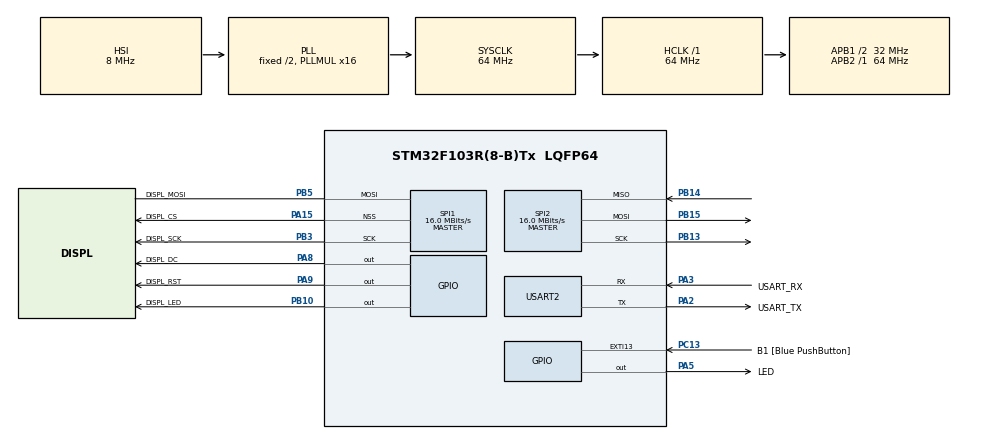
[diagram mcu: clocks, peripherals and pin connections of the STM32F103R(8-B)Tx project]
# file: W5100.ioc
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Dma.Request0=SPI1_TX
Dma.SPI1_TX.0.Direction=DMA_MEMORY_TO_PERIPH
Dma.SPI1_TX.0.Instance=DMA1_Channel3
Dma.SPI1_TX.0.MemDataAlignment=DMA_MDATAALIGN_BYTE
Dma.SPI1_TX.0.MemInc=DMA_MINC_ENABLE
Dma.SPI1_TX.0.Mode=DMA_NORMAL
Dma.SPI1_TX.0.PeriphDataAlignment=DMA_PDATAALIGN_BYTE
Dma.SPI1_TX.0.PeriphInc=DMA_PINC_DISABLE
Dma.SPI1_TX.0.Priority=DMA_PRIORITY_LOW
Mcu.Family=STM32F1
Mcu.Name=STM32F103R(8-B)Tx
Mcu.Package=LQFP64
NVIC.DMA1_Channel3_IRQn=true\:0\:0\:false\:false\:true\:false\:true\:true
NVIC.EXTI15_10_IRQn=true\:0\:0\:false\:false\:true\:true\:true\:true
NVIC.PriorityGroup=NVIC_PRIORITYGROUP_4
NVIC.SPI1_IRQn=true\:0\:0\:false\:false\:true\:true\:true\:true
PA13.GPIO_Label=TMS
PA13.Mode=Serial_Wire
PA13.Signal=SYS_JTMS-SWDIO
PA14.GPIO_Label=TCK
PA14.Mode=Serial_Wire
PA14.Signal=SYS_JTCK-SWCLK
PA15.GPIO_Label=DISPL_CS
PA15.Mode=NSS_Signal_Hard_Output
PA15.Signal=SPI1_NSS
PA2.GPIO_Label=USART_TX
PA2.GPIO_Mode=GPIO_MODE_AF_PP
PA2.GPIO_PuPd=GPIO_NOPULL
PA2.GPIO_Speed=GPIO_SPEED_FREQ_LOW
PA2.Mode=Asynchronous
PA2.Signal=USART2_TX
PA3.GPIO_Label=USART_RX
PA3.GPIO_Mode=GPIO_MODE_AF_PP
PA3.GPIO_PuPd=GPIO_NOPULL
PA3.GPIO_Speed=GPIO_SPEED_FREQ_LOW
PA3.Mode=Asynchronous
PA3.Signal=USART2_RX
PA5.GPIO_Label=LED
PA5.Signal=GPIO_Output
PA8.GPIO_Label=DISPL_DC
PA8.Signal=GPIO_Output
PA9.GPIO_Label=DISPL_RST
PA9.Signal=GPIO_Output
PB10.GPIO_Label=DISPL_LED
PB10.Signal=GPIO_Output
PB12.Signal=SPI2_NSS
PB13.Mode=Full_Duplex_Master
PB13.Signal=SPI2_SCK
PB14.Mode=Full_Duplex_Master
PB14.Signal=SPI2_MISO
PB15.Mode=Full_Duplex_Master
PB15.Signal=SPI2_MOSI
PB3.GPIO_Label=DISPL_SCK
PB3.Mode=Simplex_Bidirectional_Master
PB3.Signal=SPI1_SCK
PB5.GPIO_Label=DISPL_MOSI
PB5.Mode=Simplex_Bidirectional_Master
PB5.Signal=SPI1_MOSI
PC13-TAMPER-RTC.GPIO_Label=B1 [Blue PushButton]
PC13-TAMPER-RTC.GPIO_PuPd=GPIO_NOPULL
PC13-TAMPER-RTC.Signal=GPXTI13
PC14-OSC32_IN.Signal=RCC_OSC32_IN
PC15-OSC32_OUT.Signal=RCC_OSC32_OUT
PD0-OSC_IN.Mode=HSE-External-Oscillator
PD0-OSC_IN.Signal=RCC_OSC_IN
PD1-OSC_OUT.Mode=HSE-External-Oscillator
PD1-OSC_OUT.Signal=RCC_OSC_OUT
ProjectManager.HeapSize=0x200
ProjectManager.StackSize=0x400
ProjectManager.TargetToolchain=STM32CubeIDE
RCC.AHBFreq_Value=64000000
RCC.APB1CLKDivider=RCC_HCLK_DIV2
RCC.APB1Freq_Value=32000000
RCC.APB1TimFreq_Value=64000000
RCC.APB2Freq_Value=64000000
RCC.APB2TimFreq_Value=64000000
RCC.HCLKFreq_Value=64000000
RCC.PLLMUL=RCC_PLL_MUL16
RCC.RTCClockSelection=RCC_RTCCLKSOURCE_LSE
RCC.SYSCLKFreq_VALUE=64000000
RCC.SYSCLKSource=RCC_SYSCLKSOURCE_PLLCLK
RCC.USBFreq_Value=64000000
SPI1.BaudRatePrescaler=SPI_BAUDRATEPRESCALER_4
SPI1.CalculateBaudRate=16.0 MBits/s
SPI1.Direction=SPI_DIRECTION_1LINE
SPI1.Mode=SPI_MODE_MASTER
SPI1.VirtualNSS=VM_NSSHARD
SPI1.VirtualType=VM_MASTER
SPI2.CalculateBaudRate=16.0 MBits/s
SPI2.Direction=SPI_DIRECTION_2LINES
SPI2.Mode=SPI_MODE_MASTER
SPI2.VirtualType=VM_MASTER
USART2.VirtualMode=VM_ASYNC
board=NUCLEO-F103RB

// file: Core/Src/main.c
/* USER CODE BEGIN Header */
/**
  ******************************************************************************
  * @file           : main.c
  * @brief          : Main program body
  ******************************************************************************
  * @attention
  *
  * Copyright (c) 2023 STMicroelectronics.
  * All rights reserved.
  *
  * This software is licensed under terms that can be found in the LICENSE file
  * in the root directory of this software component.
  * If no LICENSE file comes with this software, it is provided AS-IS.
  *
  ******************************************************************************
  */
/* USER CODE END Header */
#include "main.h"

/* USER CODE BEGIN Includes */
#include "wizchip_conf.h"
#include <stm32f1xx_hal.h>
#include "httpServer.h"
#include "webpage.h"

#include "fonts.h"
#include "z_displ_ST7735.h"
#include "z_displ_ST7735_test.h"
/* USER CODE END Includes */

/* USER CODE BEGIN PD */

#define MAX_HTTPSOCK	4
#define DATA_BUF_SIZE	2048

/* USER CODE END PD */

SPI_HandleTypeDef hspi1;
SPI_HandleTypeDef hspi2;
DMA_HandleTypeDef hdma_spi1_tx;

UART_HandleTypeDef huart2;

/* USER CODE BEGIN PV */

wiz_NetInfo defaultNetInfo = { .mac = {0x00,0x08,0xdc,0xff,0xee,0xdd},
							.ip = {192,168,0,130},
							.sn = {255,255,255,0},
							.gw = {192,168,0,254},
							//.dns = {168, 126, 63, 1},
							.dns = {8, 8, 8, 8},
							.dhcp = NETINFO_STATIC};
uint8_t ethBuf0[2048];
uint8_t RX_BUF[DATA_BUF_SIZE];
uint8_t TX_BUF[DATA_BUF_SIZE];
uint8_t socknumlist[] = {0, 1, 2, 3};

uint8_t r = 0;

/* USER CODE END PV */

void SystemClock_Config(void);
static void MX_GPIO_Init(void);
static void MX_DMA_Init(void);
static void MX_USART2_UART_Init(void);
static void MX_SPI2_Init(void);
static void MX_SPI1_Init(void);
/* USER CODE BEGIN PFP */
void print_network_information(void);
void wep_define_func(void);

int _write(int fd, char *str, int len)
{
	for(int i=0; i<len; i++)
	{
		HAL_UART_Transmit(&huart2, (uint8_t *)&str[i], 1, 0xFFFF);
	}
	return len;
}

/* USER CODE END PFP */

int main(void)
{
  /* USER CODE BEGIN 1 */

	  uint8_t i;
  /* USER CODE END 1 */

  /* MCU Configuration--------------------------------------------------------*/

  /* Reset of all peripherals, Initializes the Flash interface and the Systick. */
  HAL_Init();

  /* Configure the system clock */
  SystemClock_Config();

  /* Initialize all configured peripherals */
  MX_GPIO_Init();
  MX_DMA_Init();
  MX_USART2_UART_Init();
  MX_SPI2_Init();
  MX_SPI1_Init();
  /* USER CODE BEGIN 2 */

  WIZCHIPInitialize();

	#if _WIZCHIP_ == W5100
	  HAL_Delay(3000);
	#endif
	#if _WIZCHIP_ == W5100S
	  printf("version:%.2x\r\n", getVER());
	  printf("TMSR:%.2x\r\n", getTMSR());
	  //NETUNLOCK();
	#endif

#if _WIZCHIP_ == W5200  ||  _WIZCHIP_ == W5500
  printf("version:%.2x\r\n", getVERSIONR());
#endif

  wizchip_setnetinfo(&defaultNetInfo);
  print_network_information();

  /* HTTP Server Initialization  */
  httpServer_init(TX_BUF, RX_BUF, MAX_HTTPSOCK, socknumlist);		// Tx/Rx buffers (1kB) / The number of W5500 chip H/W sockets in use

  /* Web content registration (web content in webpage.h, Example web pages) */
  wep_define_func();

  Displ_Init(Displ_Orientat_90);		// initialize the display and set the initial display orientation (here is orientaton: 0°) - THIS FUNCTION MUST PRECEED ANY OTHER DISPLAY FUNCTION CALL.
  Displ_CLS(WHITE);			// after initialization (above) and before turning on backlight (below), you can draw the initial display appearance. (here I'm just clearing display with a black background)
  Displ_BackLight('I');  			// initialize backlight and turn it on at init level

  /* USER CODE END 2 */

  /* Infinite loop */
  while (1)
  {

    /* USER CODE BEGIN 3 */

	  Displ_PerfTest();		// shows display graphics and performance

	  for(i = 0; i < MAX_HTTPSOCK; i++)	httpServer_run(i); 	// HTTP Server handler

  }
  /* USER CODE END 3 */
}

void SystemClock_Config(void)
{
  RCC_OscInitTypeDef RCC_OscInitStruct = {0};
  RCC_ClkInitTypeDef RCC_ClkInitStruct = {0};

  /** Initializes the RCC Oscillators according to the specified parameters
  * in the RCC_OscInitTypeDef structure.
  */
  RCC_OscInitStruct.OscillatorType = RCC_OSCILLATORTYPE_HSI;
  RCC_OscInitStruct.HSIState = RCC_HSI_ON;
  RCC_OscInitStruct.HSICalibrationValue = RCC_HSICALIBRATION_DEFAULT;
  RCC_OscInitStruct.PLL.PLLState = RCC_PLL_ON;
  RCC_OscInitStruct.PLL.PLLSource = RCC_PLLSOURCE_HSI_DIV2;
  RCC_OscInitStruct.PLL.PLLMUL = RCC_PLL_MUL16;
  if (HAL_RCC_OscConfig(&RCC_OscInitStruct) != HAL_OK)
  {
    Error_Handler();
  }

  /** Initializes the CPU, AHB and APB buses clocks
  */
  RCC_ClkInitStruct.ClockType = RCC_CLOCKTYPE_HCLK|RCC_CLOCKTYPE_SYSCLK
                              |RCC_CLOCKTYPE_PCLK1|RCC_CLOCKTYPE_PCLK2;
  RCC_ClkInitStruct.SYSCLKSource = RCC_SYSCLKSOURCE_PLLCLK;
  RCC_ClkInitStruct.AHBCLKDivider = RCC_SYSCLK_DIV1;
  RCC_ClkInitStruct.APB1CLKDivider = RCC_HCLK_DIV2;
  RCC_ClkInitStruct.APB2CLKDivider = RCC_HCLK_DIV1;

  if (HAL_RCC_ClockConfig(&RCC_ClkInitStruct, FLASH_LATENCY_2) != HAL_OK)
  {
    Error_Handler();
  }
}

static void MX_SPI1_Init(void)
{

  /* SPI1 parameter configuration*/
  hspi1.Instance = SPI1;
  hspi1.Init.Mode = SPI_MODE_MASTER;
  hspi1.Init.Direction = SPI_DIRECTION_1LINE;
  hspi1.Init.DataSize = SPI_DATASIZE_8BIT;
  hspi1.Init.CLKPolarity = SPI_POLARITY_LOW;
  hspi1.Init.CLKPhase = SPI_PHASE_1EDGE;
  hspi1.Init.NSS = SPI_NSS_HARD_OUTPUT;
  hspi1.Init.BaudRatePrescaler = SPI_BAUDRATEPRESCALER_4;
  hspi1.Init.FirstBit = SPI_FIRSTBIT_MSB;
  hspi1.Init.TIMode = SPI_TIMODE_DISABLE;
  hspi1.Init.CRCCalculation = SPI_CRCCALCULATION_DISABLE;
  hspi1.Init.CRCPolynomial = 10;
  if (HAL_SPI_Init(&hspi1) != HAL_OK)
  {
    Error_Handler();
  }

}

static void MX_SPI2_Init(void)
{

  /* USER CODE BEGIN SPI2_Init 0 */
  GPIO_InitTypeDef GPIO_InitStruct;

  /* USER CODE END SPI2_Init 0 */

  /* SPI2 parameter configuration*/
  hspi2.Instance = SPI2;
  hspi2.Init.Mode = SPI_MODE_MASTER;
  hspi2.Init.Direction = SPI_DIRECTION_2LINES;
  hspi2.Init.DataSize = SPI_DATASIZE_8BIT;
  hspi2.Init.CLKPolarity = SPI_POLARITY_LOW;
  hspi2.Init.CLKPhase = SPI_PHASE_1EDGE;
  hspi2.Init.NSS = SPI_NSS_SOFT;
  hspi2.Init.BaudRatePrescaler = SPI_BAUDRATEPRESCALER_2;
  hspi2.Init.FirstBit = SPI_FIRSTBIT_MSB;
  hspi2.Init.TIMode = SPI_TIMODE_DISABLE;
  hspi2.Init.CRCCalculation = SPI_CRCCALCULATION_DISABLE;
  hspi2.Init.CRCPolynomial = 10;
  if (HAL_SPI_Init(&hspi2) != HAL_OK)
  {
    Error_Handler();
  }
  /* USER CODE BEGIN SPI2_Init 2 */
	__SPI2_CLK_ENABLE();
	/**SPI2 GPIO Configuration
	PB12     ------> SPI2_NSS
	PB13     ------> SPI2_SCK
	PB14     ------> SPI2_MISO
	PB15     ------> SPI2_MOSI
	*/
	GPIO_InitStruct.Pin = GPIO_PIN_13|GPIO_PIN_14|GPIO_PIN_15;
	GPIO_InitStruct.Mode = GPIO_MODE_AF_PP;
	GPIO_InitStruct.Pull = GPIO_NOPULL;
	GPIO_InitStruct.Speed = GPIO_SPEED_HIGH;
	HAL_GPIO_Init(GPIOB, &GPIO_InitStruct);

	/*Configure GPIO pin : PA5 */
	GPIO_InitStruct.Pin = GPIO_PIN_12;
	GPIO_InitStruct.Mode = GPIO_MODE_OUTPUT_PP;
	GPIO_InitStruct.Pull = GPIO_PULLUP;
	GPIO_InitStruct.Speed = GPIO_SPEED_LOW;
	HAL_GPIO_Init(GPIOB, &GPIO_InitStruct);

  	HAL_SPI_Init(&hspi2);
  /* USER CODE END SPI2_Init 2 */

}

static void MX_USART2_UART_Init(void)
{

  /* USER CODE BEGIN USART2_Init 0 */
	GPIO_InitTypeDef GPIO_InitStruct;

  /* USER CODE END USART2_Init 0 */

  huart2.Instance = USART2;
  huart2.Init.BaudRate = 115200;
  huart2.Init.WordLength = UART_WORDLENGTH_8B;
  huart2.Init.StopBits = UART_STOPBITS_1;
  huart2.Init.Parity = UART_PARITY_NONE;
  huart2.Init.Mode = UART_MODE_TX_RX;
  huart2.Init.HwFlowCtl = UART_HWCONTROL_NONE;
  huart2.Init.OverSampling = UART_OVERSAMPLING_16;
  if (HAL_UART_Init(&huart2) != HAL_OK)
  {
    Error_Handler();
  }
  /* USER CODE BEGIN USART2_Init 2 */
  __USART2_CLK_ENABLE();
    /**USART2 GPIO Configuration
  PA2     ------> USART2_TX
  PA3     ------> USART2_RX
  */
  GPIO_InitStruct.Pin = GPIO_PIN_2|GPIO_PIN_3;
  GPIO_InitStruct.Mode = GPIO_MODE_AF_PP;
  GPIO_InitStruct.Pull = GPIO_NOPULL;
  GPIO_InitStruct.Speed = GPIO_SPEED_LOW;
  HAL_GPIO_Init(GPIOA, &GPIO_InitStruct);

  HAL_UART_Init(&huart2);
  /* USER CODE END USART2_Init 2 */

}

static void MX_DMA_Init(void)
{

  /* DMA controller clock enable */
  __HAL_RCC_DMA1_CLK_ENABLE();

  /* DMA interrupt init */
  /* DMA1_Channel3_IRQn interrupt configuration */
  HAL_NVIC_SetPriority(DMA1_Channel3_IRQn, 0, 0);
  HAL_NVIC_EnableIRQ(DMA1_Channel3_IRQn);

}

static void MX_GPIO_Init(void)
{
  GPIO_InitTypeDef GPIO_InitStruct = {0};

  /* GPIO Ports Clock Enable */
  __HAL_RCC_GPIOC_CLK_ENABLE();
  __HAL_RCC_GPIOD_CLK_ENABLE();
  __HAL_RCC_GPIOA_CLK_ENABLE();
  __HAL_RCC_GPIOB_CLK_ENABLE();

  /*Configure GPIO pin Output Level */
  HAL_GPIO_WritePin(GPIOA, LED_Pin|DISPL_DC_Pin|DISPL_RST_Pin, GPIO_PIN_RESET);

  /*Configure GPIO pin Output Level */
  HAL_GPIO_WritePin(DISPL_LED_GPIO_Port, DISPL_LED_Pin, GPIO_PIN_RESET);

  /*Configure GPIO pin : B1_Pin */
  GPIO_InitStruct.Pin = B1_Pin;
  GPIO_InitStruct.Mode = GPIO_MODE_IT_RISING;
  GPIO_InitStruct.Pull = GPIO_NOPULL;
  HAL_GPIO_Init(B1_GPIO_Port, &GPIO_InitStruct);

  /*Configure GPIO pins : LED_Pin DISPL_DC_Pin DISPL_RST_Pin */
  GPIO_InitStruct.Pin = LED_Pin|DISPL_DC_Pin|DISPL_RST_Pin;
  GPIO_InitStruct.Mode = GPIO_MODE_OUTPUT_PP;
  GPIO_InitStruct.Pull = GPIO_NOPULL;
  GPIO_InitStruct.Speed = GPIO_SPEED_FREQ_LOW;
  HAL_GPIO_Init(GPIOA, &GPIO_InitStruct);

  /*Configure GPIO pin : DISPL_LED_Pin */
  GPIO_InitStruct.Pin = DISPL_LED_Pin;
  GPIO_InitStruct.Mode = GPIO_MODE_OUTPUT_PP;
  GPIO_InitStruct.Pull = GPIO_NOPULL;
  GPIO_InitStruct.Speed = GPIO_SPEED_FREQ_LOW;
  HAL_GPIO_Init(DISPL_LED_GPIO_Port, &GPIO_InitStruct);

  /* EXTI interrupt init*/
  HAL_NVIC_SetPriority(EXTI15_10_IRQn, 0, 0);
  HAL_NVIC_EnableIRQ(EXTI15_10_IRQn);

}

/* USER CODE BEGIN 4 */
void print_network_information(void)
{
	wizchip_getnetinfo(&defaultNetInfo);
	printf("Mac address: %02x:%02x:%02x:%02x:%02x:%02x\n\r",defaultNetInfo.mac[0],defaultNetInfo.mac[1],defaultNetInfo.mac[2],defaultNetInfo.mac[3],defaultNetInfo.mac[4],defaultNetInfo.mac[5]);
	printf("IP address : %d.%d.%d.%d\n\r",defaultNetInfo.ip[0],defaultNetInfo.ip[1],defaultNetInfo.ip[2],defaultNetInfo.ip[3]);
	printf("SM Mask	   : %d.%d.%d.%d\n\r",defaultNetInfo.sn[0],defaultNetInfo.sn[1],defaultNetInfo.sn[2],defaultNetInfo.sn[3]);
	printf("Gate way   : %d.%d.%d.%d\n\r",defaultNetInfo.gw[0],defaultNetInfo.gw[1],defaultNetInfo.gw[2],defaultNetInfo.gw[3]);
	printf("DNS Server : %d.%d.%d.%d\n\r",defaultNetInfo.dns[0],defaultNetInfo.dns[1],defaultNetInfo.dns[2],defaultNetInfo.dns[3]);
}

void wep_define_func(void)
{
	// Index page and netinfo / base64 image demo
	reg_httpServer_webContent((uint8_t *)"index.html", (uint8_t *)index_page);				// index.html 		: Main page example
	reg_httpServer_webContent((uint8_t *)"netinfo.html", (uint8_t *)netinfo_page);			// netinfo.html 	: Network information example page
	reg_httpServer_webContent((uint8_t *)"netinfo.js", (uint8_t *)w5x00web_netinfo_js);	// netinfo.js 		: JavaScript for Read Network configuration 	(+ ajax.js)
	reg_httpServer_webContent((uint8_t *)"img.html", (uint8_t *)img_page);					// img.html 		: Base64 Image data example page

	// Example #1
	reg_httpServer_webContent((uint8_t *)"dio.html", (uint8_t *)dio_page);					// dio.html 		: Digital I/O control example page
	reg_httpServer_webContent((uint8_t *)"dio.js", (uint8_t *)w5x00web_dio_js);			// dio.js 			: JavaScript for digital I/O control 	(+ ajax.js)

	// AJAX JavaScript functions
	reg_httpServer_webContent((uint8_t *)"ajax.js", (uint8_t *)w5x00web_ajax_js);			// ajax.js			: JavaScript for AJAX request transfer

}
/* USER CODE END 4 */

void Error_Handler(void)
{
  __disable_irq();
  while (1)
  {
  }
}
